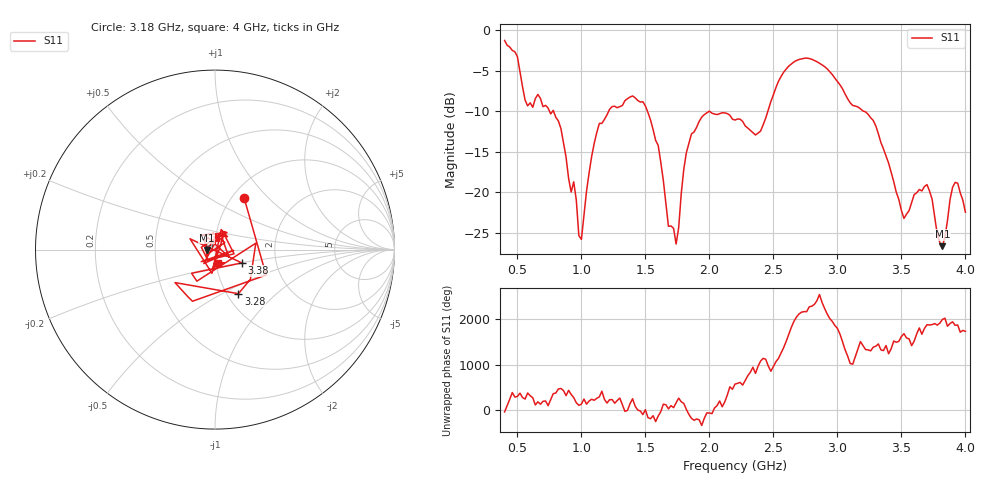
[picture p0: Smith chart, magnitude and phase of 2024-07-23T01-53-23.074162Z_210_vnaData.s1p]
!Created with skrf (http://scikit-rf.org).
# Hz S RI R 50.0
!freq ReS11 ImS11
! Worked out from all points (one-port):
!   181 points, 400 MHz to 4 GHz, reference 50 ohm
!   lowest |S11| = -26.6 dB at 3.82 GHz (marker M1), VSWR 1.10, Z = 45.6 - j0.173 ohm
!   |S11| at or under -10 dB: 1.516 GHz to 1.997 GHz (480.5 MHz wide, 27.4 % of centre); 2.003 GHz to 2.456 GHz (453.8 MHz wide, 20.4 % of centre); 3.209 GHz to end of sweep (the widest 3 of 5)
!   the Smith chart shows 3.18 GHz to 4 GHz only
!   S11 on the Smith chart (normalised r, x): 3.18 GHz: 1.14, +0.73; 3.28 GHz: 1.13, -0.60; 3.38 GHz: 1.34, -0.20; 4 GHz: 1.03, -0.15
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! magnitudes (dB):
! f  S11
! 400 MHz  -1.2
! 500 MHz  -3.3
! 580 MHz  -9.3
! 660 MHz  -7.9
! 860 MHz  -13.9
! 1 GHz  -25.8
! 1.14 GHz  -11.5
! 1.3 GHz  -9.4
! 1.5 GHz  -9.3
! 1.6 GHz  -14.2
! 1.68 GHz  -24.2
! 1.76 GHz  -24.4
! 1.8 GHz  -17.1
! 1.86 GHz  -12.8
! 2.2 GHz  -11.1
! 2.4 GHz  -12.4
! 2.66 GHz  -3.9
! 2.9 GHz  -4.5
! 3.1 GHz  -8.9
! 3.18 GHz  -9.7
! 3.28 GHz  -11.1
! 3.38 GHz  -15.5
! 3.52 GHz  -23.2
! 3.56 GHz  -22.2
! 3.7 GHz  -19.0
! 3.82 GHz  -26.6
! 3.92 GHz  -18.8
! 4 GHz  -22.4
